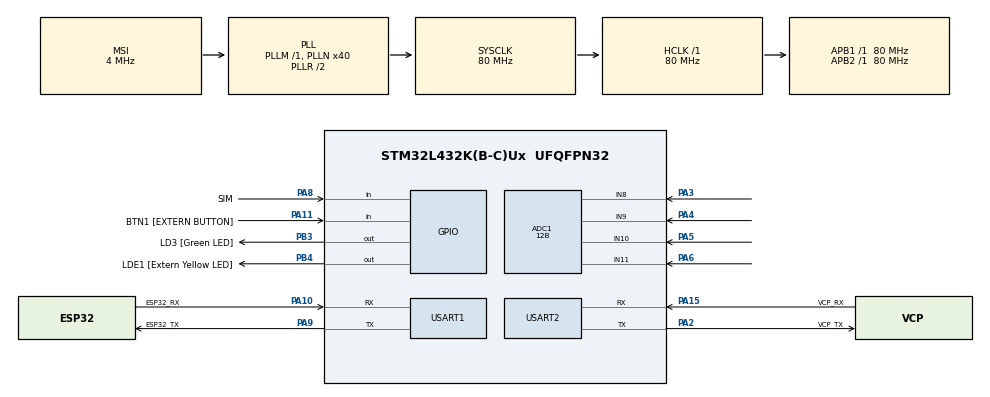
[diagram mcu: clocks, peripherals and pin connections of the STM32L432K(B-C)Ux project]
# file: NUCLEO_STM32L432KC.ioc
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ADC1.Channel-0\#ChannelRegularConversion=ADC_CHANNEL_8
ADC1.Channel-4\#ChannelRegularConversion=ADC_CHANNEL_9
ADC1.Channel-5\#ChannelRegularConversion=ADC_CHANNEL_10
ADC1.Channel-6\#ChannelRegularConversion=ADC_CHANNEL_11
ADC1.ContinuousConvMode=DISABLE
ADC1.DMAContinuousRequests=ENABLE
ADC1.DataAlign=ADC_DATAALIGN_LEFT
ADC1.EOCSelection=ADC_EOC_SINGLE_CONV
ADC1.ExternalTrigConv=ADC_EXTERNALTRIG_T15_TRGO
ADC1.NbrOfConversion=4
ADC1.NbrOfConversionFlag=1
ADC1.OffsetNumber-0\#ChannelRegularConversion=ADC_OFFSET_NONE
ADC1.OffsetNumber-4\#ChannelRegularConversion=ADC_OFFSET_NONE
ADC1.OffsetNumber-5\#ChannelRegularConversion=ADC_OFFSET_NONE
ADC1.OffsetNumber-6\#ChannelRegularConversion=ADC_OFFSET_NONE
ADC1.Rank-0\#ChannelRegularConversion=1
ADC1.Rank-4\#ChannelRegularConversion=2
ADC1.Rank-5\#ChannelRegularConversion=3
ADC1.Rank-6\#ChannelRegularConversion=4
ADC1.Resolution=ADC_RESOLUTION_12B
ADC1.SamplingTime-0\#ChannelRegularConversion=ADC_SAMPLETIME_92CYCLES_5
ADC1.SamplingTime-4\#ChannelRegularConversion=ADC_SAMPLETIME_92CYCLES_5
ADC1.SamplingTime-5\#ChannelRegularConversion=ADC_SAMPLETIME_92CYCLES_5
ADC1.SamplingTime-6\#ChannelRegularConversion=ADC_SAMPLETIME_92CYCLES_5
ADC1.master=1
Dma.ADC1.0.Direction=DMA_PERIPH_TO_MEMORY
Dma.ADC1.0.Instance=DMA1_Channel1
Dma.ADC1.0.MemDataAlignment=DMA_MDATAALIGN_HALFWORD
Dma.ADC1.0.MemInc=DMA_MINC_ENABLE
Dma.ADC1.0.Mode=DMA_CIRCULAR
Dma.ADC1.0.PeriphDataAlignment=DMA_PDATAALIGN_HALFWORD
Dma.ADC1.0.PeriphInc=DMA_PINC_DISABLE
Dma.ADC1.0.Priority=DMA_PRIORITY_LOW
Dma.Request0=ADC1
Dma.Request1=USART1_RX
Dma.Request2=USART1_TX
Dma.USART1_RX.1.Direction=DMA_PERIPH_TO_MEMORY
Dma.USART1_RX.1.Instance=DMA1_Channel5
Dma.USART1_RX.1.MemDataAlignment=DMA_MDATAALIGN_BYTE
Dma.USART1_RX.1.MemInc=DMA_MINC_ENABLE
Dma.USART1_RX.1.Mode=DMA_NORMAL
Dma.USART1_RX.1.PeriphDataAlignment=DMA_PDATAALIGN_BYTE
Dma.USART1_RX.1.PeriphInc=DMA_PINC_DISABLE
Dma.USART1_RX.1.Priority=DMA_PRIORITY_LOW
Dma.USART1_TX.2.Direction=DMA_MEMORY_TO_PERIPH
Dma.USART1_TX.2.Instance=DMA1_Channel4
Dma.USART1_TX.2.MemDataAlignment=DMA_MDATAALIGN_BYTE
Dma.USART1_TX.2.MemInc=DMA_MINC_ENABLE
Dma.USART1_TX.2.Mode=DMA_NORMAL
Dma.USART1_TX.2.PeriphDataAlignment=DMA_PDATAALIGN_BYTE
Dma.USART1_TX.2.PeriphInc=DMA_PINC_DISABLE
Dma.USART1_TX.2.Priority=DMA_PRIORITY_LOW
Mcu.Family=STM32L4
Mcu.Name=STM32L432K(B-C)Ux
Mcu.Package=UFQFPN32
NVIC.DMA1_Channel1_IRQn=true\:0\:0\:false\:false\:true\:false\:true\:true
NVIC.DMA1_Channel4_IRQn=true\:0\:0\:false\:false\:true\:false\:true\:true
NVIC.DMA1_Channel5_IRQn=true\:0\:0\:false\:false\:true\:false\:true\:true
NVIC.PriorityGroup=NVIC_PRIORITYGROUP_4
NVIC.TIM1_BRK_TIM15_IRQn=true\:0\:0\:false\:false\:true\:true\:true\:true
NVIC.USART1_IRQn=true\:0\:0\:false\:false\:true\:true\:true\:true
PA0.GPIO_Label=MCO [High speed clock in]
PA0.Mode=HSE-External-Clock-Source-for-LittleOrca
PA0.Signal=RCC_CK_IN
PA10.GPIO_Label=ESP32_RX
PA10.Mode=Asynchronous
PA10.Signal=USART1_RX
PA11.GPIO_Label=BTN1 [EXTERN BUTTON]
PA11.GPIO_PuPd=GPIO_PULLUP
PA11.Signal=GPIO_Input
PA13\ (JTMS-SWDIO).GPIO_Label=SWDIO
PA13\ (JTMS-SWDIO).Mode=Serial_Wire
PA13\ (JTMS-SWDIO).Signal=SYS_JTMS-SWDIO
PA14\ (JTCK-SWCLK).GPIO_Label=SWCLK
PA14\ (JTCK-SWCLK).Mode=Serial_Wire
PA14\ (JTCK-SWCLK).Signal=SYS_JTCK-SWCLK
PA15\ (JTDI).GPIO_Label=VCP_RX
PA15\ (JTDI).Mode=Asynchronous
PA15\ (JTDI).Signal=USART2_RX
PA2.GPIO_Label=VCP_TX
PA2.Mode=Asynchronous
PA2.Signal=USART2_TX
PA3.Signal=ADCx_IN8
PA4.Signal=ADCx_IN9
PA5.Signal=ADCx_IN10
PA6.Signal=ADCx_IN11
PA8.GPIO_Label=SIM
PA8.GPIO_PuPd=GPIO_PULLDOWN
PA8.Signal=GPIO_Input
PA9.GPIO_Label=ESP32_TX
PA9.Mode=Asynchronous
PA9.Signal=USART1_TX
PB3\ (JTDO-TRACESWO).GPIO_Label=LD3 [Green LED]
PB3\ (JTDO-TRACESWO).Signal=GPIO_Output
PB4\ (NJTRST).GPIO_Label=LDE1 [Extern Yellow LED]
PB4\ (NJTRST).GPIO_PuPd=GPIO_PULLDOWN
PB4\ (NJTRST).Signal=GPIO_Output
PC14-OSC32_IN\ (PC14).Mode=LSE-External-Oscillator
PC14-OSC32_IN\ (PC14).Signal=RCC_OSC32_IN
PC15-OSC32_OUT\ (PC15).Mode=LSE-External-Oscillator
PC15-OSC32_OUT\ (PC15).Signal=RCC_OSC32_OUT
ProjectManager.HeapSize=0x200
ProjectManager.StackSize=0x400
ProjectManager.TargetToolchain=STM32CubeIDE
RCC.ADCCLockSelection=RCC_ADCCLKSOURCE_SYSCLK
RCC.ADCFreq_Value=80000000
RCC.AHBFreq_Value=80000000
RCC.APB1Freq_Value=80000000
RCC.APB1TimFreq_Value=80000000
RCC.APB2Freq_Value=80000000
RCC.APB2TimFreq_Value=80000000
RCC.CortexFreq_Value=80000000
RCC.HCLKFreq_Value=80000000
RCC.HSE_VALUE=8000000
RCC.HSI16_VALUE=16000000
RCC.HSI48_VALUE=48000000
RCC.HSI_VALUE=16000000
RCC.MSI_VALUE=4000000
RCC.PLLMUL=RCC_PLLMUL_4
RCC.PLLN=40
RCC.PLLSAI1N=16
RCC.SYSCLKFreq_VALUE=80000000
RCC.SYSCLKSource=RCC_SYSCLKSOURCE_PLLCLK
RCC.USBFreq_Value=32000000
RCC.VCOOutputFreq_Value=160000000
SH.ADCx_IN10.0=ADC1_IN10,IN10-Single-Ended
SH.ADCx_IN11.0=ADC1_IN11,IN11-Single-Ended
SH.ADCx_IN8.0=ADC1_IN8,IN8-Single-Ended
SH.ADCx_IN9.0=ADC1_IN9,IN9-Single-Ended
TIM15.AutoReloadPreload=TIM_AUTORELOAD_PRELOAD_DISABLE
TIM15.Channel-PWM\ Generation1\ No\ Output=TIM_CHANNEL_1
TIM15.Period=(10000-1)
TIM15.Prescaler=(8000-1)
TIM15.TIM_MasterOutputTrigger=TIM_TRGO_UPDATE
TIM15.TIM_MasterSlaveMode=TIM_MASTERSLAVEMODE_DISABLE
TIM16.Period=(10000  / 4 - 1)
TIM16.Prescaler=(8000 - 1)
TIM2.Period=(80000000/4 - 1)
USART1.VirtualMode-Asynchronous=VM_ASYNC
USART2.VirtualMode-Asynchronous=VM_ASYNC
VP_TIM15_VS_ClockSourceINT.Mode=Internal
VP_TIM15_VS_no_output1.Mode=PWM Generation1 No Output
VP_TIM16_VS_ClockSourceINT.Mode=Enable_Timer
VP_TIM2_VS_ClockSourceINT.Mode=Internal
board=NUCLEO-L432KC

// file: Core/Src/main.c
/* USER CODE BEGIN Header */
/**
 ******************************************************************************
 * @file           : main.c
 * @brief          : Main program body
 ******************************************************************************
 * @attention
 *
 * Copyright (c) 2023 STMicroelectronics.
 * All rights reserved.
 *
 * This software is licensed under terms that can be found in the LICENSE file
 * in the root directory of this software component.
 * If no LICENSE file comes with this software, it is provided AS-IS.
 *
 ******************************************************************************
 */
/* USER CODE END Header */
#include "main.h"
#include "adc.h"
#include "dma.h"
#include "tim.h"
#include "usart.h"
#include "gpio.h"

/* USER CODE BEGIN Includes */
#include <stdio.h>
#include <string.h>

#include "asio.h"
#include "assupport.h"
/* USER CODE END Includes */

/* USER CODE BEGIN PM */
#define MODULE_NAME            "NUCLEO_STM32L432KC"

#define BT_AT09                0
#define BT_HM10                0
#define BT_ESP32               1
/* USER CODE END PM */

/* USER CODE BEGIN PV */
int testInteger = 0;

//= global variables ======================================
static HAL_StatusTypeDef halState = 0;
TIM_HandleTypeDef *errorHtim = NULL;
static char auxText[32];

//= communication variables ===============================
static char rxBuffer[MSG_BUFFER_LENGTH];
static char rxWorking[MSG_BUFFER_LENGTH * 16];
static char txWorking[MSG_BUFFER_LENGTH];
static char response[MSG_BUFFER_LENGTH * 16];
static int rxSize = MSG_BUFFER_LENGTH;
//static int rxResponseSize = sizeof(response) / sizeof(response[0]);
//static int rxWrkBuffSize = sizeof(rxWorking) / sizeof(rxWorking[0]);
static uint8_t *rxBuff = (uint8_t*) rxBuffer;

//= adc variables =========================================
static uint16_t adcBuffer[] = { 0, 0, 0, 0 };
static uint16_t adcCount = sizeof(adcBuffer) / sizeof(adcBuffer[0]);

volatile static int adcReady = 0;
volatile static int timReady = 0;
/* USER CODE END PV */

void SystemClock_Config(void);
/* USER CODE BEGIN PFP */
char fromBtToSerial();
char* sendATCmd(char *cmd);
void sendATCmdAsync(char *cmd);
//void clearBuffer(void *buffer, int length);

void waitToBtReady(int print);
char* removeFrame(char *msg);

GPIO_PinState btn1State();

/* USER CODE END PFP */

int main(void) {
	/* USER CODE BEGIN 1 */
	asClearBuffer(rxBuffer, sizeof(rxBuffer));
	asClearBuffer(rxWorking, sizeof(rxWorking));
	asClearBuffer(txWorking, sizeof(txWorking));
	asClearBuffer(response, sizeof(response));
	asClearBuffer(adcBuffer, sizeof(adcBuffer));
	/* USER CODE END 1 */

	/* MCU Configuration--------------------------------------------------------*/

	/* Reset of all peripherals, Initializes the Flash interface and the Systick. */
	HAL_Init();

	/* Configure the system clock */
	SystemClock_Config();

	/* Initialize all configured peripherals */
	MX_GPIO_Init();
	MX_DMA_Init();
	MX_USART2_UART_Init();
	MX_USART1_UART_Init();
	MX_ADC1_Init();
	MX_TIM15_Init();
	MX_TIM2_Init();
	MX_TIM16_Init();
	/* USER CODE BEGIN 2 */

	errorHtim = &htim16;
	asIoPort = &huart2;
//	asDbgPort = &huart1;

	HAL_Delay(3000);

	char *msg = asCenterText("Start: " MODULE_NAME, 60, '=', '=');
	printf(_NL);
	printf(msg);
	printf(_NL);

	while (HAL_ADCEx_Calibration_Start(&hadc1, ADC_SINGLE_ENDED) != HAL_OK)
		; // calibrate AD convertor

	printf("ADC1 has been calibrated." _NL);

	//= Start ADC1 DMA ====================================
	halState = HAL_ADC_Start_DMA(&hadc1, (uint32_t*) adcBuffer, adcCount);
	if (halState != HAL_OK) {
		printf("ADC1 Start Failed: %s" _NL, asHalStatusToStr(halState));
		Error_Handler();
	}
	__HAL_DMA_DISABLE_IT(&hdma_adc1, DMA_IT_HT); // Avoid DMA half transfer interrupt trigger
	printf("ADC1 has been started." _NL);

	//= Start TIM15 synchronizing ADC1 ====================
	halState = HAL_TIM_Base_Start_IT(&htim15);
	if (halState != HAL_OK) {
		printf("TIM15 Star Failed: %s" _NL, asHalStatusToStr(halState));
		Error_Handler();
	}
	printf("TIM15 has been started." _NL);

	printf(_NL);
	printf("------------------------------"
			"------------------------------" _NL);
	printf(_NL);

#if BT_HM10 > 0
	char *rsp;
	printf("HM-10 presence check:" _NL);
	waitToBtReady(1);

	// prepare HM-10
	rsp = sendATCmd("AT+VERS?");
	printf("AT+VERS:           ");
	printf(rsp);
	if (!strstr(rsp, _NL))
		printf(_NL);

	rsp = sendATCmd("AT+ADDR?");
	printf("AT+ADDR:           ");
	printf(rsp);
	if (!strstr(rsp, _NL))
		printf(_NL);

	rsp = sendATCmd("AT+STATE?");
	printf("AT+STATE:          ");
	printf(rsp);
	if (!strstr(rsp, _NL))
		printf(_NL);

	rsp = sendATCmd("AT+TYPE?");
	printf("AT+TYPE:           ");
	printf(rsp);
	if (!strstr(rsp, _NL))
		printf(_NL);

	rsp = sendATCmd("AT+RESET");
	printf("AT+RESET:          ");
	printf(rsp);
	if (!strstr(rsp, _NL))
		printf(_NL);

	printf(_NL);
	printf("------------------------------"
			"------------------------------" _NL);
	printf(_NL);

	waitToBtReady(0);

	rsp = sendATCmd("AT+HELP");
//	printf("AT+HELP: ");
	printf(rsp);
	if (!strstr(rsp, _NL))
		printf(_NL);

	printf("------------------------------"
			"------------------------------" _NL);
#endif
#if BT_AT09 > 0
	char *rsp;
	printf("AT-09 presence check:" _NL);
	waitToBtReady(1);
	// prepare AT-09
	rsp = sendATCmd("AT+DEFAULT");
	printf("AT+DEFAULT:        ");
	printf(rsp);
	if (!strstr(rsp, _NL))
		printf(_NL);
	waitToBtReady(0);

	rsp = sendATCmd("AT+NAME");
	printf("AT+NAME:           ");
	printf(rsp);
	if (!strstr(rsp, _NL))
		printf(_NL);

	rsp = sendATCmd("AT+PIN");
	printf("AT+PIN:            ");
	printf(rsp);
	if (!strstr(rsp, _NL))
		printf(_NL);

	rsp = sendATCmd("AT+LADDR");
	printf("AT+LADDR:          ");
	printf(rsp);
	if (!strstr(rsp, _NL))
		printf(_NL);

	rsp = sendATCmd("AT+VERSION");
	printf("AT+VERSION:        ");
	printf(rsp);
	if (!strstr(rsp, _NL))
		printf(_NL);

//	rsp = sendATCmd("AT+TYPE1");
//	printf("AT+TYPE:           ");
//	printf(rsp);
//	if (!strstr(rsp, _NL))
//		printf(_NL);
//	waitToBtReady(0);

	rsp = sendATCmd("AT+TYPE?");
	printf("AT+TYPE:           ");
	printf(rsp);
	if (!strstr(rsp, _NL))
		printf(_NL);

	rsp = sendATCmd("AT+RESET");
	printf("AT+RESET:          ");
	printf(rsp);
	if (!strstr(rsp, _NL))
		printf(_NL);

	printf(_NL);
	printf("------------------------------"
			"------------------------------" _NL);
	printf(_NL);

	waitToBtReady(0);

	rsp = sendATCmd("AT+HELP");
//	printf("AT+HELP: ");
	printf(rsp);
	if (!strstr(rsp, _NL))
		printf(_NL);

	printf("------------------------------"
			"------------------------------" _NL);
#endif

	/* USER CODE END 2 */

	/* Infinite loop */
	/* USER CODE BEGIN WHILE */
	HAL_UARTEx_ReceiveToIdle_DMA(&huart1, rxBuff, rxSize);
	__HAL_DMA_DISABLE_IT(&hdma_usart1_rx, DMA_IT_HT);
	while (1) {
		if (response[0] != 0) {
			int length = strlen(response);
			if ((response[length - 1] < ' ')) {
				printf(response);
//		        printf(_NL);
				asClearBuffer(response, sizeof(response));
			}
		}

		if (timReady != 0) {
			asClearBuffer(txWorking, sizeof(txWorking));
			sprintf(txWorking, "Values: ");
			for (int i = 0; i < adcCount; i++) {
				sprintf(auxText, "%6d;", adcBuffer[i]);
				strcat(txWorking, auxText);
			}
			strcat(txWorking, _NL);
			HAL_UART_Transmit_DMA(&huart1, (uint8_t*)txWorking, strlen(txWorking));
			timReady = 0;
		}

		btn1State();

		/* USER CODE END WHILE */

	}
}

void SystemClock_Config(void) {
	RCC_OscInitTypeDef RCC_OscInitStruct = { 0 };
	RCC_ClkInitTypeDef RCC_ClkInitStruct = { 0 };

	/** Configure the main internal regulator output voltage
	 */
	if (HAL_PWREx_ControlVoltageScaling(PWR_REGULATOR_VOLTAGE_SCALE1)
			!= HAL_OK) {
		Error_Handler();
	}

	/** Configure LSE Drive Capability
	 */
	HAL_PWR_EnableBkUpAccess();
	__HAL_RCC_LSEDRIVE_CONFIG(RCC_LSEDRIVE_LOW);

	/** Initializes the RCC Oscillators according to the specified parameters
	 * in the RCC_OscInitTypeDef structure.
	 */
	RCC_OscInitStruct.OscillatorType = RCC_OSCILLATORTYPE_LSE
			| RCC_OSCILLATORTYPE_MSI;
	RCC_OscInitStruct.LSEState = RCC_LSE_ON;
	RCC_OscInitStruct.MSIState = RCC_MSI_ON;
	RCC_OscInitStruct.MSICalibrationValue = 0;
	RCC_OscInitStruct.MSIClockRange = RCC_MSIRANGE_6;
	RCC_OscInitStruct.PLL.PLLState = RCC_PLL_ON;
	RCC_OscInitStruct.PLL.PLLSource = RCC_PLLSOURCE_MSI;
	RCC_OscInitStruct.PLL.PLLM = 1;
	RCC_OscInitStruct.PLL.PLLN = 40;
	RCC_OscInitStruct.PLL.PLLP = RCC_PLLP_DIV7;
	RCC_OscInitStruct.PLL.PLLQ = RCC_PLLQ_DIV2;
	RCC_OscInitStruct.PLL.PLLR = RCC_PLLR_DIV2;
	if (HAL_RCC_OscConfig(&RCC_OscInitStruct) != HAL_OK) {
		Error_Handler();
	}

	/** Initializes the CPU, AHB and APB buses clocks
	 */
	RCC_ClkInitStruct.ClockType = RCC_CLOCKTYPE_HCLK | RCC_CLOCKTYPE_SYSCLK
			| RCC_CLOCKTYPE_PCLK1 | RCC_CLOCKTYPE_PCLK2;
	RCC_ClkInitStruct.SYSCLKSource = RCC_SYSCLKSOURCE_PLLCLK;
	RCC_ClkInitStruct.AHBCLKDivider = RCC_SYSCLK_DIV1;
	RCC_ClkInitStruct.APB1CLKDivider = RCC_HCLK_DIV1;
	RCC_ClkInitStruct.APB2CLKDivider = RCC_HCLK_DIV1;

	if (HAL_RCC_ClockConfig(&RCC_ClkInitStruct, FLASH_LATENCY_4) != HAL_OK) {
		Error_Handler();
	}

	/** Enable MSI Auto calibration
	 */
	HAL_RCCEx_EnableMSIPLLMode();
}

/* USER CODE BEGIN 4 */
char fromBtToSerial() {
	char ch = 0;
	if (__HAL_UART_GET_FLAG(&huart1, UART_FLAG_RXNE) == SET) {
		HAL_UART_Receive(&huart1, (uint8_t*) &ch, 1, HAL_MAX_DELAY);
		HAL_UART_Transmit(&huart2, (uint8_t*) &ch, 1, HAL_MAX_DELAY);
	}
	return ch;
}

char* removeFrame(char *msg) {
	int last = strlen(msg);
	last--;
	while (last >= 0 && (msg[last] == '\r' || msg[last] == '\n')) {
		msg[last--] = 0;
	}
	return msg;
}

char* sendATCmd(char *cmd) {
	static uint8_t buffer[0x1000];
	static char *pbuffer = (char*) buffer;
	static uint16_t buflen = sizeof(buffer);
	static uint16_t rxLen = 0;

	asClearBuffer(buffer, sizeof(buffer));
	memcpy(buffer, cmd, strlen(cmd) + 1);
	strcat(pbuffer, _NL);
	uint16_t length = strlen((char*) buffer);
	HAL_UART_Transmit(&huart1, buffer, length, 100);

	uint16_t currentSpace = buflen;
	asClearBuffer(buffer, sizeof(buffer));
	uint8_t *xbuffer = buffer;
	rxLen = 1;
	while (rxLen > 0) {
		HAL_UARTEx_ReceiveToIdle(&huart1, xbuffer, currentSpace, &rxLen, 100);
		xbuffer += rxLen;
		currentSpace -= rxLen;
		if (currentSpace < 0)
			break;
	}
	return pbuffer;
}

void waitToBtReady(int print) {
	int isActive = 0;
	while (isActive == 0) {
		char *rsp = sendATCmd("AT");
		if (print != 0)
			printf("Check BT: ");
		isActive = *rsp != 0;
		if (print != 0) {
			if (isActive)
				printf(removeFrame(rsp));
			else
				printf("NO ANSWER");
			printf(_NL);
		}
	}
}

void sendATCmdAsync(char *cmd) {
	HAL_UART_Transmit(&huart1, (uint8_t*) cmd, strlen(cmd), 100);
	HAL_UART_Transmit(&huart1, (uint8_t*) _NL, strlen(_NL), 100);
}

//= Test button state =====================================
GPIO_PinState btn1State() {
	GPIO_PinState btn1 = HAL_GPIO_ReadPin(BTN1_GPIO_Port, BTN1_Pin);
	GPIO_PinState led =
			(btn1 == GPIO_PIN_RESET) ? GPIO_PIN_SET : GPIO_PIN_RESET;
	HAL_GPIO_WritePin(LDE1_GPIO_Port, LDE1_Pin, led);
	return led;
}

//= Callbacks function ====================================

/**
 * @brief  Period elapsed callback in non-blocking mode
 * @param  htim TIM handle
 * @retval None
 */
void HAL_TIM_PeriodElapsedCallback(TIM_HandleTypeDef *htim) {
	if (htim->Instance == htim15.Instance) {
		timReady = 1;
	}
}
/**
 * @brief  Conversion complete callback in non-blocking mode
 * @param  hadc: ADC handle
 * @retval None
 */
void HAL_ADC_ConvCpltCallback(ADC_HandleTypeDef *hadc) {
	if (hadc->Instance == hadc1.Instance) {
		adcReady = 1;
	}
}

/**
 * @brief  Reception Event Callback (Rx event notification called after use of advanced reception service).
 * @param  huart UART handle
 * @param  Size  Number of data available in application reception buffer (indicates a position in
 *               reception buffer until which, data are available)
 * @retval None
 */

void HAL_UARTEx_RxEventCallback(UART_HandleTypeDef *huart, uint16_t Size) {
	if (huart->Instance == huart1.Instance) {
		// receive data from HM-10
		strncat(rxWorking, rxBuffer, Size);
		char *pos = strstr(rxWorking, _NL);
		if (pos != NULL) {
			strcpy(response, rxWorking);
			asClearBuffer(rxWorking, sizeof(rxWorking));
		}

		asClearBuffer(rxBuffer, sizeof(rxBuffer));

		// Příjem další sekvence znaků
		HAL_UARTEx_ReceiveToIdle_DMA(&huart1, rxBuff, rxSize);
		__HAL_DMA_DISABLE_IT(&hdma_usart1_rx, DMA_IT_HT);
	}
}

/* USER CODE END 4 */

void Error_Handler(void) {
	/* USER CODE BEGIN Error_Handler_Debug */
	/* User can add his own implementation to report the HAL error return state */
	__disable_irq();
	HAL_TIM_Base_Start(errorHtim);
	uint32_t ledTime = (errorHtim->Instance->ARR + 1) / 4;
	while (1) {
		if (errorHtim->Instance->CNT < ledTime / 2)
			HAL_GPIO_WritePin(LD3_GPIO_Port, LD3_Pin, GPIO_PIN_SET);
		else
			HAL_GPIO_WritePin(LD3_GPIO_Port, LD3_Pin, GPIO_PIN_RESET);
	}
	/* USER CODE END Error_Handler_Debug */
}
